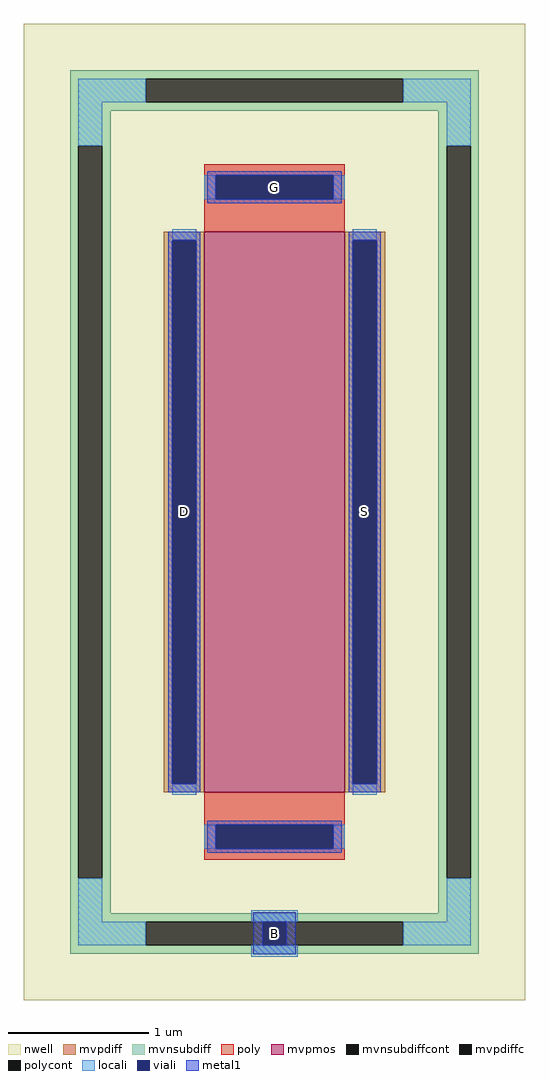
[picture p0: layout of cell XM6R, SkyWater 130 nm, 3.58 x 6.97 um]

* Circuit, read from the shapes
.subckt XM6R B D S G
XM1 S G D B sky130_fd_pr__pfet_g5v0d10v5 w=4 l=1
.ends

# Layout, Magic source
magic
tech sky130A
magscale 1 2
<< nwell >>
rect -358 -697 358 697
<< mvpmos >>
rect -100 -400 100 400
<< mvpdiff >>
rect -158 388 -100 400
rect -158 -388 -146 388
rect -112 -388 -100 388
rect -158 -400 -100 -388
rect 100 388 158 400
rect 100 -388 112 388
rect 146 -388 158 388
rect 100 -400 158 -388
<< mvpdiffc >>
rect -146 -388 -112 388
rect 112 -388 146 388
<< mvnsubdiff >>
rect -292 619 292 631
rect -292 585 -184 619
rect 184 585 292 619
rect -292 573 292 585
rect -292 523 -234 573
rect -292 -523 -280 523
rect -246 -523 -234 523
rect 234 523 292 573
rect -292 -573 -234 -523
rect 234 -523 246 523
rect 280 -523 292 523
rect 234 -573 292 -523
rect -292 -585 292 -573
rect -292 -619 -184 -585
rect 184 -619 292 -585
rect -292 -631 292 -619
<< mvnsubdiffcont >>
rect -184 585 184 619
rect -280 -523 -246 523
rect 246 -523 280 523
rect -184 -619 184 -585
<< poly >>
rect -100 481 100 497
rect -100 447 -84 481
rect 84 447 100 481
rect -100 400 100 447
rect -100 -447 100 -400
rect -100 -481 -84 -447
rect 84 -481 100 -447
rect -100 -497 100 -481
<< polycont >>
rect -84 447 84 481
rect -84 -481 84 -447
<< locali >>
rect -280 585 -184 619
rect 184 585 280 619
rect -280 523 -246 585
rect 246 523 280 585
rect -100 447 -84 481
rect 84 447 100 481
rect -146 388 -112 404
rect -146 -404 -112 -388
rect 112 388 146 404
rect 112 -404 146 -388
rect -100 -481 -84 -447
rect 84 -481 100 -447
rect -280 -585 -246 -523
rect -33 -585 33 -569
rect 246 -585 280 -523
rect -280 -619 -184 -585
rect 184 -619 280 -585
rect -33 -635 33 -619
<< viali >>
rect -84 447 84 481
rect -146 -388 -112 388
rect 112 -388 146 388
rect -84 -481 84 -447
rect -17 -619 17 -585
<< metal1 >>
rect -96 481 96 487
rect -96 447 -84 481
rect 84 447 96 481
rect -96 441 96 447
rect -152 388 -106 400
rect -152 -388 -146 388
rect -112 -388 -106 388
rect -152 -400 -106 -388
rect 106 388 152 400
rect 106 -388 112 388
rect 146 -388 152 388
rect 106 -400 152 -388
rect -96 -447 96 -441
rect -96 -481 -84 -447
rect 84 -481 96 -447
rect -96 -487 96 -481
rect -30 -585 30 -572
rect -30 -619 -17 -585
rect 17 -619 30 -585
rect -30 -632 30 -619
<< labels >>
rlabel mvnsubdiffcont 0 -602 0 -602 0 B
port 4 nsew
rlabel mvpdiffc -129 0 -129 0 0 D
port 5 nsew
rlabel mvpdiffc 129 0 129 0 0 S
port 6 nsew
rlabel polycont 0 464 0 464 0 G
port 7 nsew
<< properties >>
string FIXED_BBOX -263 -602 263 602
<< end >>
